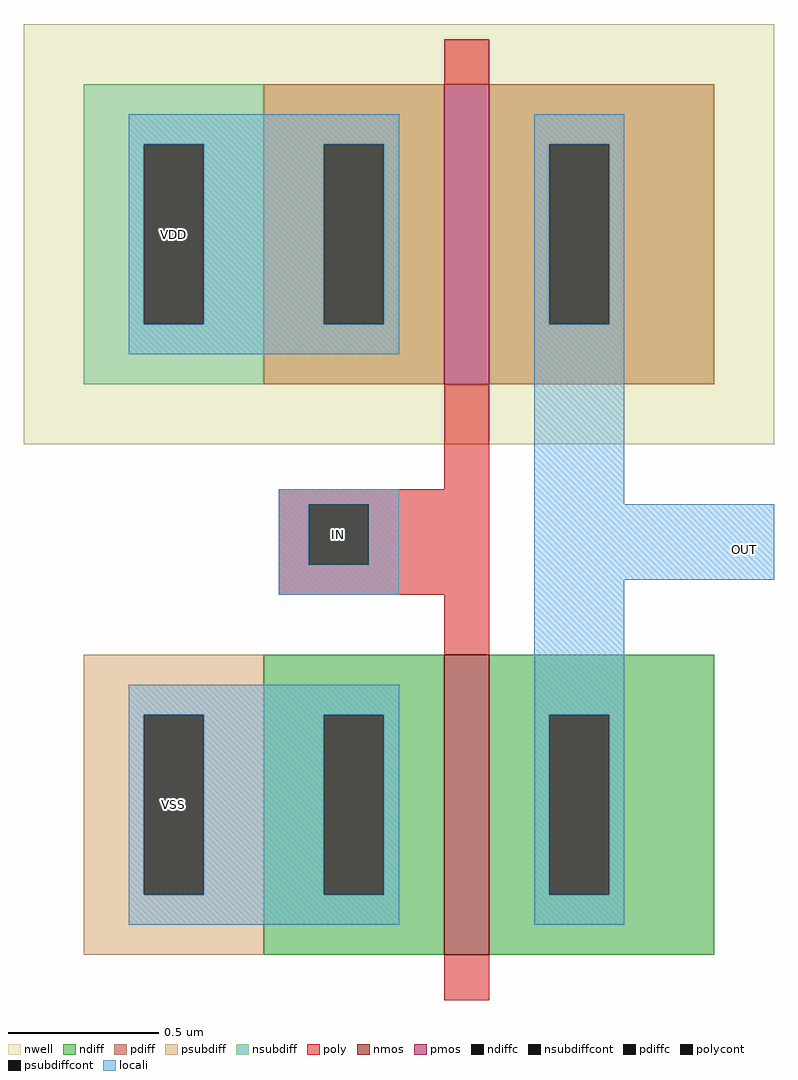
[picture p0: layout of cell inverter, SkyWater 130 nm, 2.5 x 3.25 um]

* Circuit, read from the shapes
.subckt inverter VDD IN OUT VSS
XM1 OUT IN VSS VSS sky130_fd_pr__nfet_01v8 w=1 l=0.15
XM2 OUT IN VDD VDD sky130_fd_pr__pfet_01v8 w=1 l=0.15
.ends

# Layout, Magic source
magic
tech sky130A
<< nwell >>
rect -140 170 110 310
<< nmos >>
rect 0 0 15 100
<< pmos >>
rect 0 190 15 290
<< ndiff >>
rect -60 80 0 100
rect -60 20 -40 80
rect -20 20 0 80
rect -60 0 0 20
rect 15 80 90 100
rect 15 20 35 80
rect 55 20 90 80
rect 15 0 90 20
<< pdiff >>
rect -60 270 0 290
rect -60 210 -40 270
rect -20 210 0 270
rect -60 190 0 210
rect 15 270 90 290
rect 15 210 35 270
rect 55 210 90 270
rect 15 190 90 210
<< ndiffc >>
rect -40 20 -20 80
rect 35 20 55 80
<< pdiffc >>
rect -40 210 -20 270
rect 35 210 55 270
<< psubdiff >>
rect -120 80 -60 100
rect -120 20 -100 80
rect -80 20 -60 80
rect -120 0 -60 20
<< nsubdiff >>
rect -120 270 -60 290
rect -120 210 -100 270
rect -80 210 -60 270
rect -120 190 -60 210
<< psubdiffcont >>
rect -100 20 -80 80
<< nsubdiffcont >>
rect -100 210 -80 270
<< poly >>
rect 0 290 15 305
rect 0 155 15 190
rect -55 150 15 155
rect -55 130 -45 150
rect -25 130 15 150
rect -55 120 15 130
rect 0 100 15 120
rect 0 -15 15 0
<< polycont >>
rect -45 130 -25 150
<< locali >>
rect -105 270 -15 280
rect -105 210 -100 270
rect -80 210 -40 270
rect -20 210 -15 270
rect -105 200 -15 210
rect 30 270 60 280
rect 30 210 35 270
rect 55 210 60 270
rect -55 150 -15 155
rect -55 130 -45 150
rect -25 130 -15 150
rect -55 120 -15 130
rect 30 150 60 210
rect 30 125 110 150
rect -105 80 -15 90
rect -105 20 -100 80
rect -80 20 -40 80
rect -20 20 -15 80
rect -105 10 -15 20
rect 30 80 60 125
rect 30 20 35 80
rect 55 20 60 80
rect 30 10 60 20
<< labels >>
rlabel nsubdiffcont -90 240 -90 240 7 VDD
port 1 w
rlabel polycont -35 140 -35 140 7 IN
port 2 w
rlabel locali 100 135 100 135 3 OUT
port 3 e
rlabel psubdiffcont -90 50 -90 50 7 VSS
port 4 w
<< end >>
